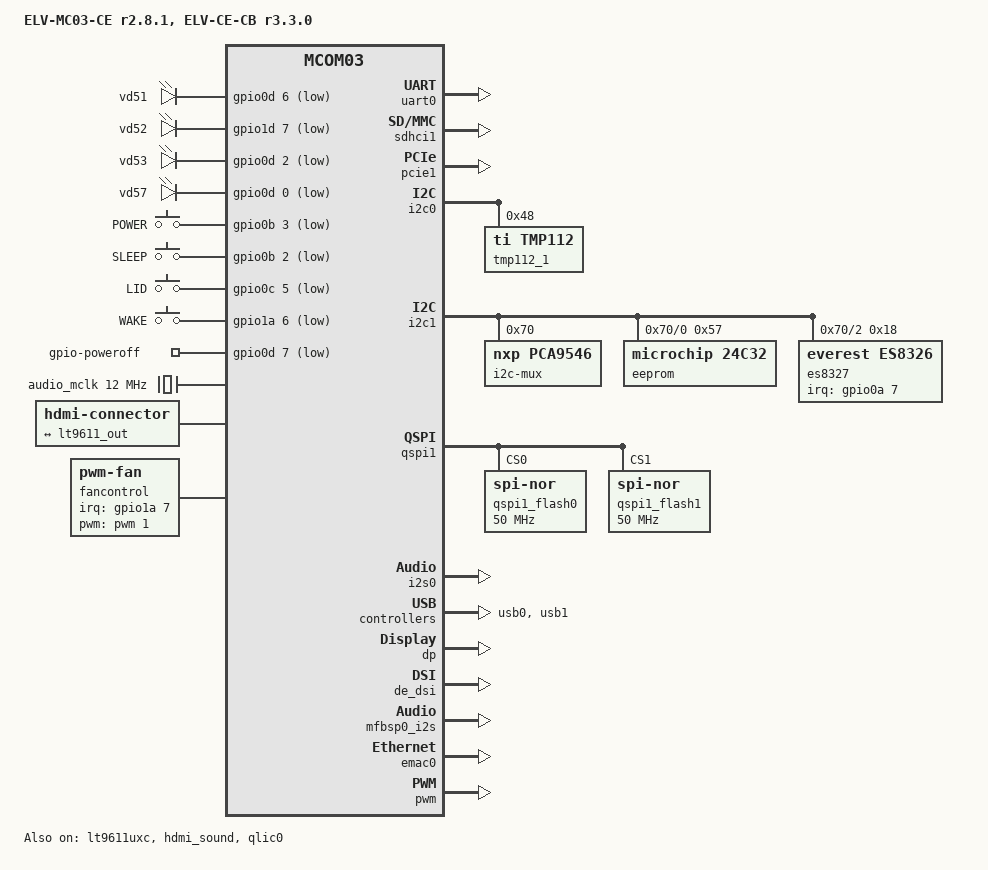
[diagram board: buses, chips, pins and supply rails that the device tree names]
// SPDX-License-Identifier: GPL-2.0+
// Copyright 2024 RnD Center "ELVEES", JSC

/dts-v1/;

#include <dt-bindings/gpio/gpio.h>
#include <dt-bindings/input/linux-event-codes.h>
#include <dt-bindings/thermal/thermal.h>

#include "mcom03-elvmc03ce-r2.8.1.dtsi"

/ {
	model = "ELV-MC03-CE r2.8.1, ELV-CE-CB r3.3.0";
	compatible = "elvees,elvmc03ce-r2.8.1-elvcecb-r3.3.0",
		     "elvees,elvmc03ce-elvcecb",
		     "elvees,elvcecb-r3.3.0",
		     "elvees,elvcecb",
		     "elvees,elvmc03ce-r2.8.1",
		     "elvees,elvmc03ce",
		     "elvees,mcom03";

	chosen {
		stdout-path = "serial0:115200n8";
	};

	elvcecb-leds {
		compatible = "gpio-leds";

		vd51 {
			gpios = <&gpio0d 6 GPIO_ACTIVE_LOW>;
			default-state = "off";
		};

		vd52 {
			gpios = <&gpio1d 7 GPIO_ACTIVE_LOW>;
			default-state = "off";
		};

		vd53 {
			gpios = <&gpio0d 2 GPIO_ACTIVE_LOW>;
			default-state = "off";
		};

		vd57 {
			gpios = <&gpio0d 0 GPIO_ACTIVE_LOW>;
			default-state = "off";
		};
	};

	elvcecb-keys {
		compatible = "gpio-keys-polled";
		poll-interval = <100>;
		autorepeat;

		power {
			gpios = <&gpio0b 3 GPIO_ACTIVE_LOW>;
			label = "POWER";
			linux,code = <KEY_POWER>;
		};

		sleep {
			gpios = <&gpio0b 2 GPIO_ACTIVE_LOW>;
			label = "SLEEP";
			linux,code = <KEY_SLEEP>;
		};

		lid {
			gpios = <&gpio0c 5 GPIO_ACTIVE_LOW>;
			label = "LID";
			linux,input-type = <EV_SW>;
			linux,code = <SW_LID>;
		};
	};

	elvcecb-keys-with-irq {
		compatible = "gpio-keys";

		pinctrl-0 = <&wake_button_default>;
		pinctrl-names = "default";

		wake {
			gpios = <&gpio1a 6 GPIO_ACTIVE_LOW>;
			label = "WAKE";
			linux,code = <KEY_WAKEUP>;
			wakeup-source;
		};
	};

	gpio-poweroff {
		compatible = "gpio-poweroff";
		gpios = <&gpio0d 7 GPIO_ACTIVE_LOW>; // Use SUS_S5 to poweroff
		timeout-ms = <1000>;
	};

	/* "G1" oscillator */
	audio_mclk: audio_mclk {
		#clock-cells = <0>;
		compatible = "fixed-clock";
		clock-frequency = <12000000>;
	};

	/* TRS (3.5mm jack) connected to ES8327 codec.
	   ES8327 connected to MCom-03 MFBSP0 I2S as I2S slave.
	   */
	analog-sound {
		compatible = "simple-audio-card";
		simple-audio-card,name = "analog-audio";
		simple-audio-card,format = "i2s";
		simple-audio-card,bitclock-master = <&dailink1_master>;
		simple-audio-card,frame-master = <&dailink1_master>;
		simple-audio-card,continuous-clock;

		dailink1_master: simple-audio-card,cpu {
			sound-dai = <&mfbsp0_i2s>;
		};

		simple-audio-card,codec {
			sound-dai = <&es8327>;
		};
	};

	hdmi_connector: hdmi-connector {
		compatible = "hdmi-connector";
		label = "hdmi";

		type = "a";

		port {
			hdmi_connector_in: endpoint {
				remote-endpoint = <&lt9611_out>;
			};
		};
	};

	fancontrol: pwm-fan {
		compatible = "pwm-fan";
		pwms = <&pwm 1 40000 0>;
		#cooling-cells = <2>;
		cooling-levels = <0 102 180 230>;
		interrupt-parent = <&gpio1a>;
		interrupts = <7 IRQ_TYPE_EDGE_FALLING>;
	};
};

&uart0 {
	status = "okay";
};

&sdhci1 {
	status = "okay";

	/* Disable 1.8V support
	 * Disable SDR50, SDR104 and DDR50 support
	 */
	sdhci-caps-mask = <0x7 0x4000000>;
	sdhci-caps = <0x0 0x0>;
};

/* Connected to PCIe bridge */
&pcie1 {
	status = "okay";
};

&i2c0 {
	status = "okay";

	tmp112_1: temperature-sensor@48 {
		compatible = "ti,tmp112";
		reg = <0x48>;
	};
};

&i2c1 {
	status = "okay";

	i2c-mux@70 {
		compatible = "nxp,pca9546";
		#address-cells = <1>;
		#size-cells = <0>;
		reg = <0x70>;

		i2c_pm: i2c@0 {
			reg = <0>;
			#address-cells = <1>;
			#size-cells = <0>;

			eeprom@57 {
				compatible = "microchip,24c32", "atmel,24c32";
				reg = <0x57>;
			};
		};

		i2c@1 {
			reg = <1>;
			#address-cells = <1>;
			#size-cells = <0>;
		};

		i2c@2 {
			reg = <2>;
			#address-cells = <1>;
			#size-cells = <0>;

			es8327: codec@18 {
				compatible = "everest,es8326";
				reg = <0x18>;

				interrupt-parent = <&gpio0a>;
				interrupts = <7 IRQ_TYPE_EDGE_RISING>;

				clocks = <&audio_mclk>;
				clock-names = "mclk";
				#sound-dai-cells = <0>;
				everest,mic1-src = [22];
				everest,mic2-src = [44];
				everest,jack-pol = [0e];
				everest,interrupt-src = [08];
				everest,interrupt-clk = [45];
			};
		};
	};
};

&qspi1 {
	status = "okay";

	qspi1_flash0: spi-nor@0 {
		#address-cells = <1>;
		#size-cells = <1>;
		compatible = "jedec,spi-nor", "spi-flash";
		reg = <0x0>;
		/* Highest frequency for IC installed into socket */
		spi-max-frequency = <50000000>;
		m25p,fast-read;
	};

	qspi1_flash1: spi-nor@1 {
		#address-cells = <1>;
		#size-cells = <1>;
		compatible = "jedec,spi-nor", "spi-flash";
		reg = <0x1>;
		/* Highest frequency for IC installed into socket */
		spi-max-frequency = <50000000>;
		m25p,fast-read;
	};
};

&i2s0 {
	status = "okay";
};

/* Connected to USB 3.0 on-board connector */
&usb0 {
	status = "okay";
};

/* Connected to USB 2.0 on-board connectors and USB 3.0 hub */
&usb1 {
	status = "okay";
};

&lt9611uxc {
	status = "okay";

	ports {
		port@2 {
			reg = <2>;
			lt9611_out: endpoint {
				remote-endpoint = <&hdmi_connector_in>;
			};
		};
	};
};

&dp {
	status = "okay";
};

&de_dsi {
	status = "okay";
};

&hdmi_sound {
	status = "okay";
};

&mfbsp0_i2s {
	status = "okay";
};

&qlic0 {
	status = "okay";
};

&emac0 {
	status = "okay";
};

&pwm {
	status = "okay";
	elvees,output-channel = <0 0 0 0>;
	elvees,state-on-disable = <0 1 0 0>;

	pinctrl-names = "default";
	pinctrl-0 = <&pwm_oena1_mux>;
};

&trips {
	cpu_alert0: cpu-alert-0 {
		temperature = <50000>;
		hysteresis = <1000>;
		type = "active";
	};
};

&cooling_maps {
	map0 {
		trip = <&cpu_alert0>;
		cooling-device = <&fancontrol
				  THERMAL_NO_LIMIT
				  THERMAL_NO_LIMIT>;
	};
};

&lsperiph1_pinctrl {
	wake_button_default: wake-button-cfg {
		pins = "GPIOA_6";
		input-enable;
	};
};
